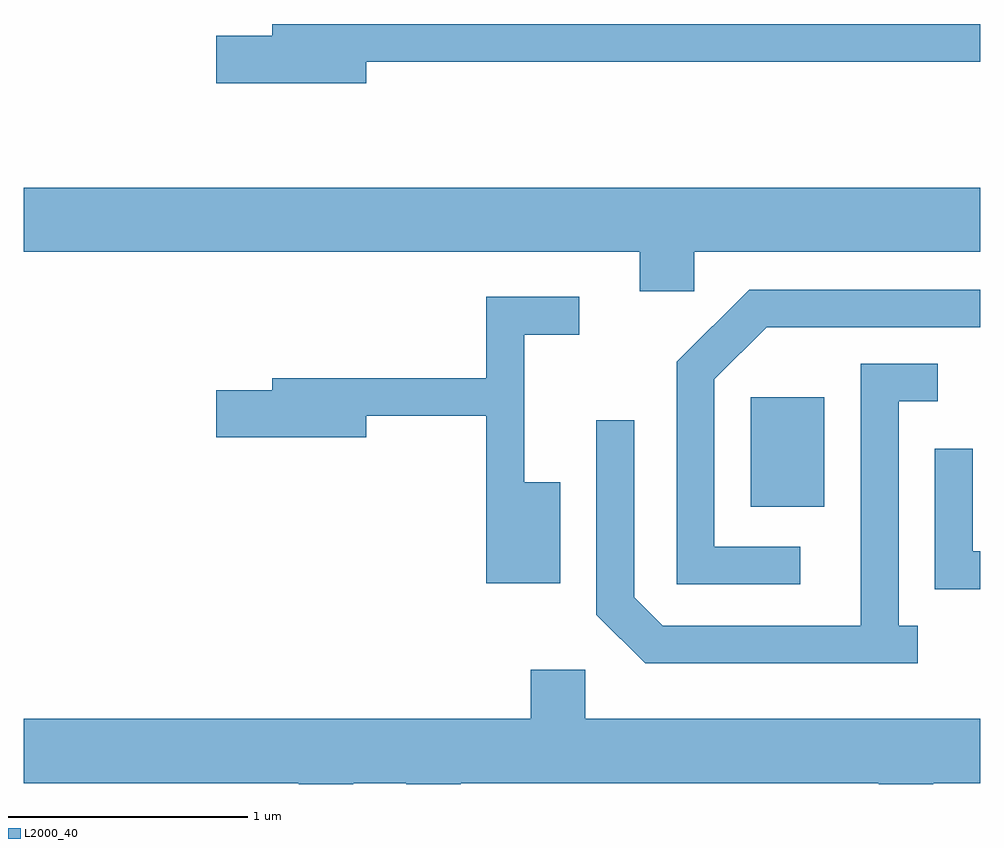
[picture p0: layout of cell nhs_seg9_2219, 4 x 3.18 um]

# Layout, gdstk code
import gdstk
lib = gdstk.Library(unit=1e-6, precision=1e-09)
def R(c, l, rs):  # rectangles x0, y0, x1, y1
    for r in rs: c.add(gdstk.rectangle(r[:2], r[2:], *l))
def P(c, l, *ps):  # polygons
    for p in ps: c.add(gdstk.Polygon(p, *l))
L2000_40 = (2000, 40)

nhs_seg9_2219 = lib.new_cell('nhs_seg9_2219')
R(nhs_seg9_2219, L2000_40, [(252.651,2039.591,252.959,2040.049)])
P(nhs_seg9_2219, L2000_40, [(251.044,2041.451),(253.611,2041.451),(253.611,2041.609),(250.651,2041.609),(250.651,2041.559),(250.416,2041.559),(250.416,2041.361),(251.044,2041.361)],
  [(252.414,2040.656),(253.611,2040.656),(253.611,2040.924),(249.611,2040.924),(249.611,2040.656),(252.186,2040.656),(252.186,2040.491),(252.414,2040.491)],
  [(252.858,2039.424),(252.499,2039.424),(252.499,2040.124),(252.717,2040.341),(253.611,2040.341),(253.611,2040.499),(252.644,2040.499),(252.341,2040.197),(252.341,2039.266),(252.858,2039.266)],
  [(251.854,2039.694),(251.704,2039.694),(251.704,2040.311),(251.933,2040.311),(251.933,2040.469),(251.546,2040.469),(251.546,2040.129),(250.651,2040.129),(250.651,2040.079),(250.416,2040.079),(250.416,2039.881),(251.044,2039.881),(251.044,2039.971),(251.546,2039.971),(251.546,2039.271),(251.854,2039.271)],
  [(253.348,2039.094),(253.269,2039.094),(253.269,2040.031),(253.433,2040.031),(253.433,2040.189),(253.111,2040.189),(253.111,2039.094),(252.282,2039.094),(252.164,2039.212),(252.164,2039.953),(252.006,2039.953),(252.006,2039.139),(252.209,2038.936),(253.348,2038.936)],
  [(253.611,2039.404),(253.579,2039.404),(253.579,2039.833),(253.421,2039.833),(253.421,2039.246),(253.611,2039.246)],
  [(250.989,2038.436),(251.211,2038.436),(251.211,2038.432),(251.439,2038.432),(251.439,2038.436),(253.186,2038.436),(253.186,2038.432),(253.414,2038.432),(253.414,2038.436),(253.611,2038.436),(253.611,2038.704),(251.959,2038.704),(251.959,2038.909),(251.731,2038.909),(251.731,2038.704),(249.611,2038.704),(249.611,2038.436),(250.761,2038.436),(250.761,2038.432),(250.989,2038.432)])

lib.write_gds('nhs_seg9_2219.gds')
